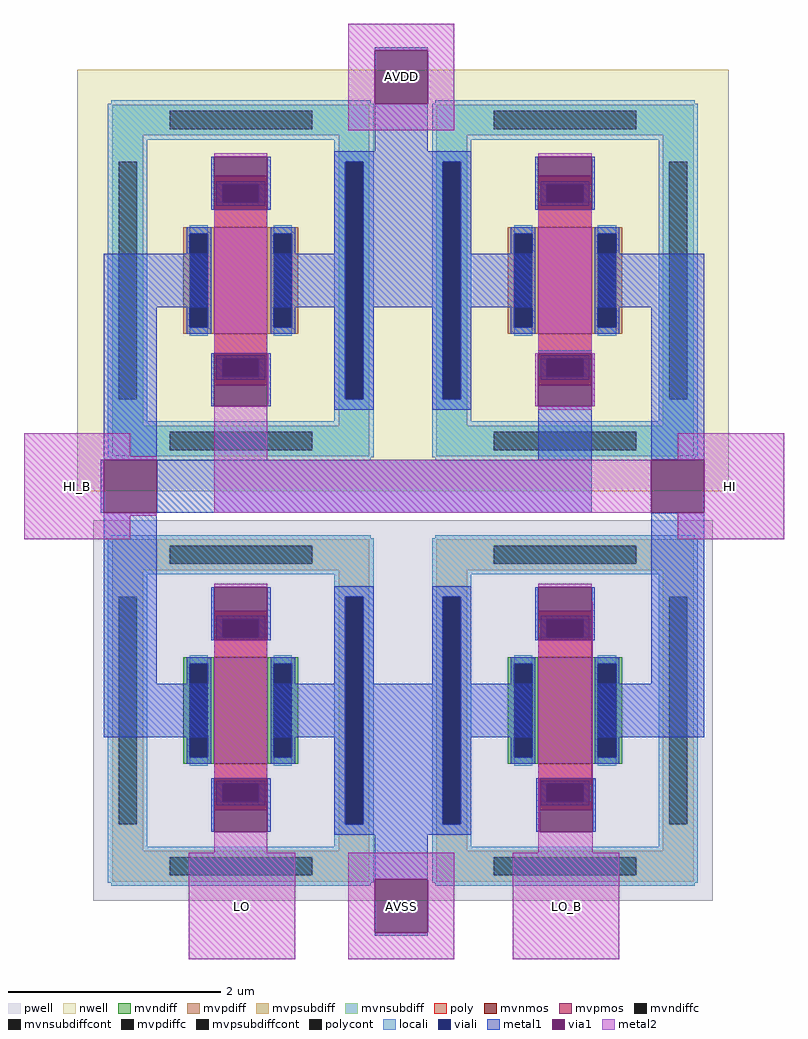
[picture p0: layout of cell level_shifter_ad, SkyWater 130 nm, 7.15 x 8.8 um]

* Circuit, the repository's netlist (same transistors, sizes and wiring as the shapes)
** sch_path: /foss/designs/hsxo-cpz1/xschem/level_shifter_ad.sch
.subckt level_shifter_ad AVDD AVSS LO HI HI_B LO_B
*.iopin AVDD
*.iopin AVSS
*.ipin LO
*.opin HI
*.opin HI_B
*.ipin LO_B
XM21 HI_B LO AVSS AVSS sky130_fd_pr__nfet_g5v0d10v5 L=0.5 W=1 nf=1 ad='int((nf+1)/2) * W/nf * 0.29' as='int((nf+2)/2) * W/nf * 0.29'
+ pd='2*int((nf+1)/2) * (W/nf + 0.29)' ps='2*int((nf+2)/2) * (W/nf + 0.29)' nrd='0.29 / W' nrs='0.29 / W' sa=0 sb=0 sd=0 mult=1 m=1
XM25 HI_B HI AVDD AVDD sky130_fd_pr__pfet_g5v0d10v5 L=0.5 W=1 nf=1 ad='int((nf+1)/2) * W/nf * 0.29' as='int((nf+2)/2) * W/nf * 0.29'
+ pd='2*int((nf+1)/2) * (W/nf + 0.29)' ps='2*int((nf+2)/2) * (W/nf + 0.29)' nrd='0.29 / W' nrs='0.29 / W' sa=0 sb=0 sd=0 mult=1 m=1
XM1 HI HI_B AVDD AVDD sky130_fd_pr__pfet_g5v0d10v5 L=0.5 W=1 nf=1 ad='int((nf+1)/2) * W/nf * 0.29' as='int((nf+2)/2) * W/nf * 0.29'
+ pd='2*int((nf+1)/2) * (W/nf + 0.29)' ps='2*int((nf+2)/2) * (W/nf + 0.29)' nrd='0.29 / W' nrs='0.29 / W' sa=0 sb=0 sd=0 mult=1 m=1
XM2 HI LO_B AVSS AVSS sky130_fd_pr__nfet_g5v0d10v5 L=0.5 W=1 nf=1 ad='int((nf+1)/2) * W/nf * 0.29' as='int((nf+2)/2) * W/nf * 0.29'
+ pd='2*int((nf+1)/2) * (W/nf + 0.29)' ps='2*int((nf+2)/2) * (W/nf + 0.29)' nrd='0.29 / W' nrs='0.29 / W' sa=0 sb=0 sd=0 mult=1 m=1
.ends
.end

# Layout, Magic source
magic
tech sky130A
magscale 1 2
<< pwell >>
rect 1560 -1860 1630 -1144
<< locali >>
rect 1044 -360 1532 -354
rect 1654 -360 2142 -354
rect 1038 -428 1538 -360
rect 1038 -958 1112 -428
rect 1464 -470 1538 -428
rect 1464 -916 1484 -470
rect 1518 -916 1538 -470
rect 1464 -958 1538 -916
rect 1038 -1026 1538 -958
rect 1648 -428 2148 -360
rect 1648 -470 1722 -428
rect 1648 -916 1668 -470
rect 1702 -916 1722 -470
rect 1648 -958 1722 -916
rect 2074 -958 2148 -428
rect 1648 -1026 2148 -958
rect 1044 -1032 1532 -1026
rect 1654 -1032 2142 -1026
rect 1044 -1178 1532 -1172
rect 1654 -1178 2142 -1172
rect 1038 -1246 1538 -1178
rect 1038 -1758 1112 -1246
rect 1464 -1288 1538 -1246
rect 1464 -1716 1484 -1288
rect 1518 -1716 1538 -1288
rect 1464 -1758 1538 -1716
rect 1038 -1826 1538 -1758
rect 1648 -1246 2148 -1178
rect 1648 -1288 1722 -1246
rect 1648 -1716 1668 -1288
rect 1702 -1716 1722 -1288
rect 1648 -1758 1722 -1716
rect 2074 -1758 2148 -1246
rect 1648 -1826 2148 -1758
rect 1044 -1832 1532 -1826
rect 1654 -1832 2142 -1826
<< viali >>
rect 1484 -916 1518 -470
rect 1668 -916 1702 -470
rect 1484 -1716 1518 -1288
rect 1668 -1716 1702 -1288
<< metal1 >>
rect 1540 -260 1640 -254
rect 1540 -450 1640 -360
rect 1232 -560 1238 -460
rect 1338 -560 1344 -460
rect 1464 -470 1722 -450
rect 1464 -643 1484 -470
rect 1030 -743 1226 -643
rect 1350 -743 1484 -643
rect 1030 -1030 1130 -743
rect 1232 -930 1238 -830
rect 1338 -930 1344 -830
rect 1464 -916 1484 -743
rect 1518 -743 1668 -470
rect 1518 -916 1538 -743
rect 1464 -936 1538 -916
rect 1648 -916 1668 -743
rect 1702 -643 1722 -470
rect 1842 -560 1848 -460
rect 1948 -560 1954 -460
rect 1702 -743 1836 -643
rect 1954 -743 2160 -643
rect 1702 -916 1722 -743
rect 1648 -936 1722 -916
rect 1848 -830 1948 -824
rect 1948 -930 1954 -830
rect 1848 -1030 1948 -930
rect 1024 -1130 1030 -1030
rect 1130 -1130 1948 -1030
rect 2060 -1030 2160 -743
rect 1030 -1452 1130 -1130
rect 1232 -1370 1238 -1270
rect 1338 -1370 1344 -1270
rect 1464 -1288 1538 -1268
rect 1464 -1452 1484 -1288
rect 1030 -1552 1226 -1452
rect 1350 -1552 1484 -1452
rect 1232 -1730 1238 -1630
rect 1338 -1730 1344 -1630
rect 1464 -1716 1484 -1552
rect 1518 -1452 1538 -1288
rect 1648 -1288 1722 -1268
rect 1648 -1452 1668 -1288
rect 1518 -1716 1668 -1452
rect 1702 -1452 1722 -1288
rect 1842 -1370 1848 -1270
rect 1948 -1370 1954 -1270
rect 2060 -1452 2160 -1130
rect 1702 -1552 1836 -1452
rect 1954 -1552 2160 -1452
rect 1702 -1716 1722 -1552
rect 1464 -1736 1722 -1716
rect 1844 -1730 1850 -1630
rect 1950 -1730 1956 -1630
rect 1540 -1820 1640 -1736
rect 1540 -1926 1640 -1920
<< via1 >>
rect 1540 -360 1640 -260
rect 1238 -560 1338 -460
rect 1238 -930 1338 -830
rect 1848 -560 1948 -460
rect 1848 -930 1948 -830
rect 1030 -1130 1130 -1030
rect 2060 -1130 2160 -1030
rect 1238 -1370 1338 -1270
rect 1238 -1730 1338 -1630
rect 1848 -1370 1948 -1270
rect 1850 -1730 1950 -1630
rect 1540 -1920 1640 -1820
<< metal2 >>
rect 1490 -260 1690 -210
rect 1490 -360 1540 -260
rect 1640 -360 1690 -260
rect 1490 -410 1690 -360
rect 1238 -460 1338 -454
rect 1238 -830 1338 -560
rect 1848 -460 1948 -454
rect 1848 -830 1948 -560
rect 1338 -930 1340 -830
rect 1842 -930 1848 -830
rect 1948 -930 1954 -830
rect 880 -1024 1080 -980
rect 880 -1030 1130 -1024
rect 880 -1130 1030 -1030
rect 1238 -1030 1338 -930
rect 1848 -936 1948 -930
rect 2110 -1030 2310 -980
rect 1238 -1130 2060 -1030
rect 2160 -1130 2310 -1030
rect 880 -1136 1130 -1130
rect 880 -1180 1080 -1136
rect 2110 -1180 2310 -1130
rect 1238 -1270 1338 -1264
rect 1238 -1630 1338 -1370
rect 1238 -1770 1338 -1730
rect 1848 -1270 1948 -1264
rect 1948 -1370 1950 -1297
rect 1848 -1630 1950 -1370
rect 1848 -1730 1850 -1630
rect 1848 -1770 1950 -1730
rect 1190 -1970 1390 -1770
rect 1490 -1820 1690 -1770
rect 1490 -1920 1540 -1820
rect 1640 -1920 1690 -1820
rect 1490 -1970 1690 -1920
rect 1800 -1970 2000 -1770
use sky130_fd_pr__pfet_g5v0d10v5_KLAZY6  XM1 paramcells
transform 1 0 1898 0 1 -693
box -308 -397 308 397
use sky130_fd_pr__nfet_g5v0d10v5_UNEQ2N  XM2 paramcells
transform 1 0 1898 0 1 -1502
box -278 -358 278 358
use sky130_fd_pr__nfet_g5v0d10v5_UNEQ2N  XM21
transform 1 0 1288 0 1 -1502
box -278 -358 278 358
use sky130_fd_pr__pfet_g5v0d10v5_KLAZY6  XM25
transform 1 0 1288 0 1 -693
box -308 -397 308 397
<< labels >>
flabel metal2 1490 -410 1690 -210 0 FreeSans 256 0 0 0 AVDD
port 1 nsew
flabel metal2 880 -1180 1080 -980 0 FreeSans 256 0 0 0 HI_B
port 6 nsew
flabel metal2 1190 -1970 1390 -1770 0 FreeSans 256 0 0 0 LO
port 3 nsew
flabel metal2 1800 -1970 2000 -1770 0 FreeSans 256 0 0 0 LO_B
port 2 nsew
flabel metal2 1490 -1970 1690 -1770 0 FreeSans 256 0 0 0 AVSS
port 5 nsew
flabel metal2 2110 -1180 2310 -980 0 FreeSans 256 0 0 0 HI
port 4 nsew
<< end >>

# cell sky130_fd_pr__pfet_g5v0d10v5_KLAZY6: kit device sky130_fd_pr__pfet_g5v0d10v5, w 1.0 l 0.5 m 1 nf 1 diffcov 100 polycov 100 guard 1 glc 1 grc 1 gtc 1 gbc 1 tbcov 100 rlcov 100 topc 1 botc 1 poverlap 0 doverlap 1 lmin 0.50 wmin 0.42 compatible {sky130_fd_pr__pfet_01v8 sky130_fd_pr__pfet_01v8_lvt sky130_fd_pr__pfet_01v8_hvt sky130_fd_pr__pfet_g5v0d10v5} full_metal 1 viasrc 100 viadrn 100 viagate 100 viagb 0 viagr 0 viagl 0 viagt 0

# cell sky130_fd_pr__nfet_g5v0d10v5_UNEQ2N: kit device sky130_fd_pr__nfet_g5v0d10v5, w 1.0 l 0.5 m 1 nf 1 diffcov 100 polycov 100 guard 1 glc 1 grc 1 gtc 1 gbc 1 tbcov 100 rlcov 100 topc 1 botc 1 poverlap 0 doverlap 1 lmin 0.50 wmin 0.42 compatible {sky130_fd_pr__nfet_01v8 sky130_fd_pr__nfet_01v8_lvt sky130_fd_bs_flash__special_sonosfet_star sky130_fd_pr__nfet_g5v0d10v5 sky130_fd_pr__nfet_05v0_nvt sky130_fd_pr__nfet_03v3_nvt} full_metal 1 viasrc 100 viadrn 100 viagate 100 viagb 0 viagr 0 viagl 0 viagt 0
